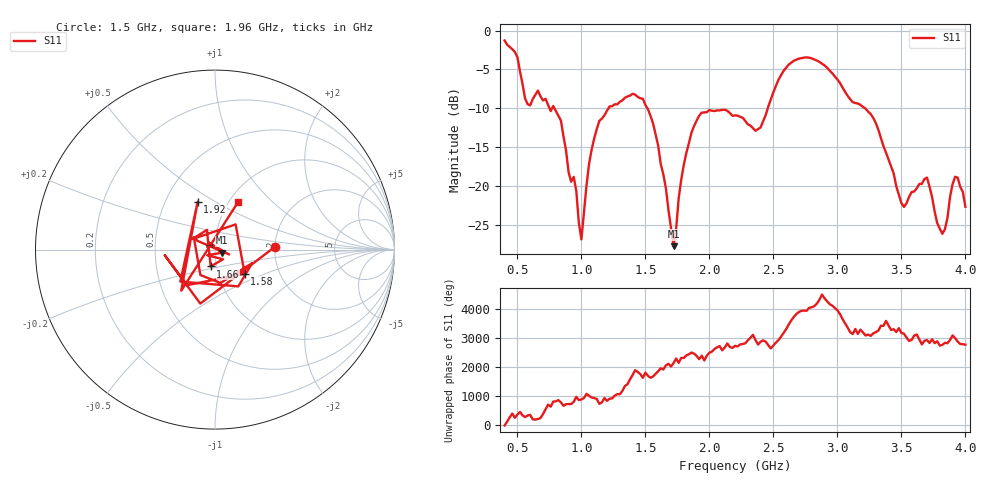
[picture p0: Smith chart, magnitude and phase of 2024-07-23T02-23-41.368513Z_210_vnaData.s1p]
!Created with skrf (http://scikit-rf.org).
# Hz S RI R 50.0
!freq ReS11 ImS11
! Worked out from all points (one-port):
!   181 points, 400 MHz to 4 GHz, reference 50 ohm
!   lowest |S11| = -27.7 dB at 1.72 GHz (marker M1), VSWR 1.09, Z = 53.8 - j1.9 ohm
!   |S11| at or under -10 dB: 789.3 MHz to 1.212 GHz (422.3 MHz wide, 42.2 % of centre); 1.515 GHz to 2.456 GHz (940.7 MHz wide, 47.4 % of centre); 3.216 GHz to end of sweep (the widest 3 of 4)
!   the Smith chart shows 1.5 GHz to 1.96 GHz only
!   S11 on the Smith chart (normalised r, x): 1.5 GHz: 1.99, +0.06; 1.58 GHz: 1.34, -0.38; 1.66 GHz: 0.94, -0.18; 1.92 GHz: 0.72, +0.42; 1.96 GHz: 1.10, +0.65
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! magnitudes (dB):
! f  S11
! 400 MHz  -1.3
! 500 MHz  -3.4
! 580 MHz  -9.5
! 660 MHz  -7.7
! 860 MHz  -13.6
! 960 MHz  -20.6
! 1 GHz  -26.9
! 1.06 GHz  -17.1
! 1.12 GHz  -12.7
! 1.3 GHz  -9.2
! 1.5 GHz  -9.6
! 1.58 GHz  -13.4
! 1.66 GHz  -20.3
! 1.72 GHz  -27.7
! 1.76 GHz  -21.6
! 1.92 GHz  -11.0
! 1.96 GHz  -10.5
! 2.2 GHz  -10.9
! 2.4 GHz  -12.5
! 2.66 GHz  -3.9
! 3.1 GHz  -8.8
! 3.28 GHz  -11.2
! 3.5 GHz  -22.2
! 3.56 GHz  -21.4
! 3.7 GHz  -18.9
! 3.82 GHz  -26.1
! 3.92 GHz  -18.8
! 4 GHz  -22.7
